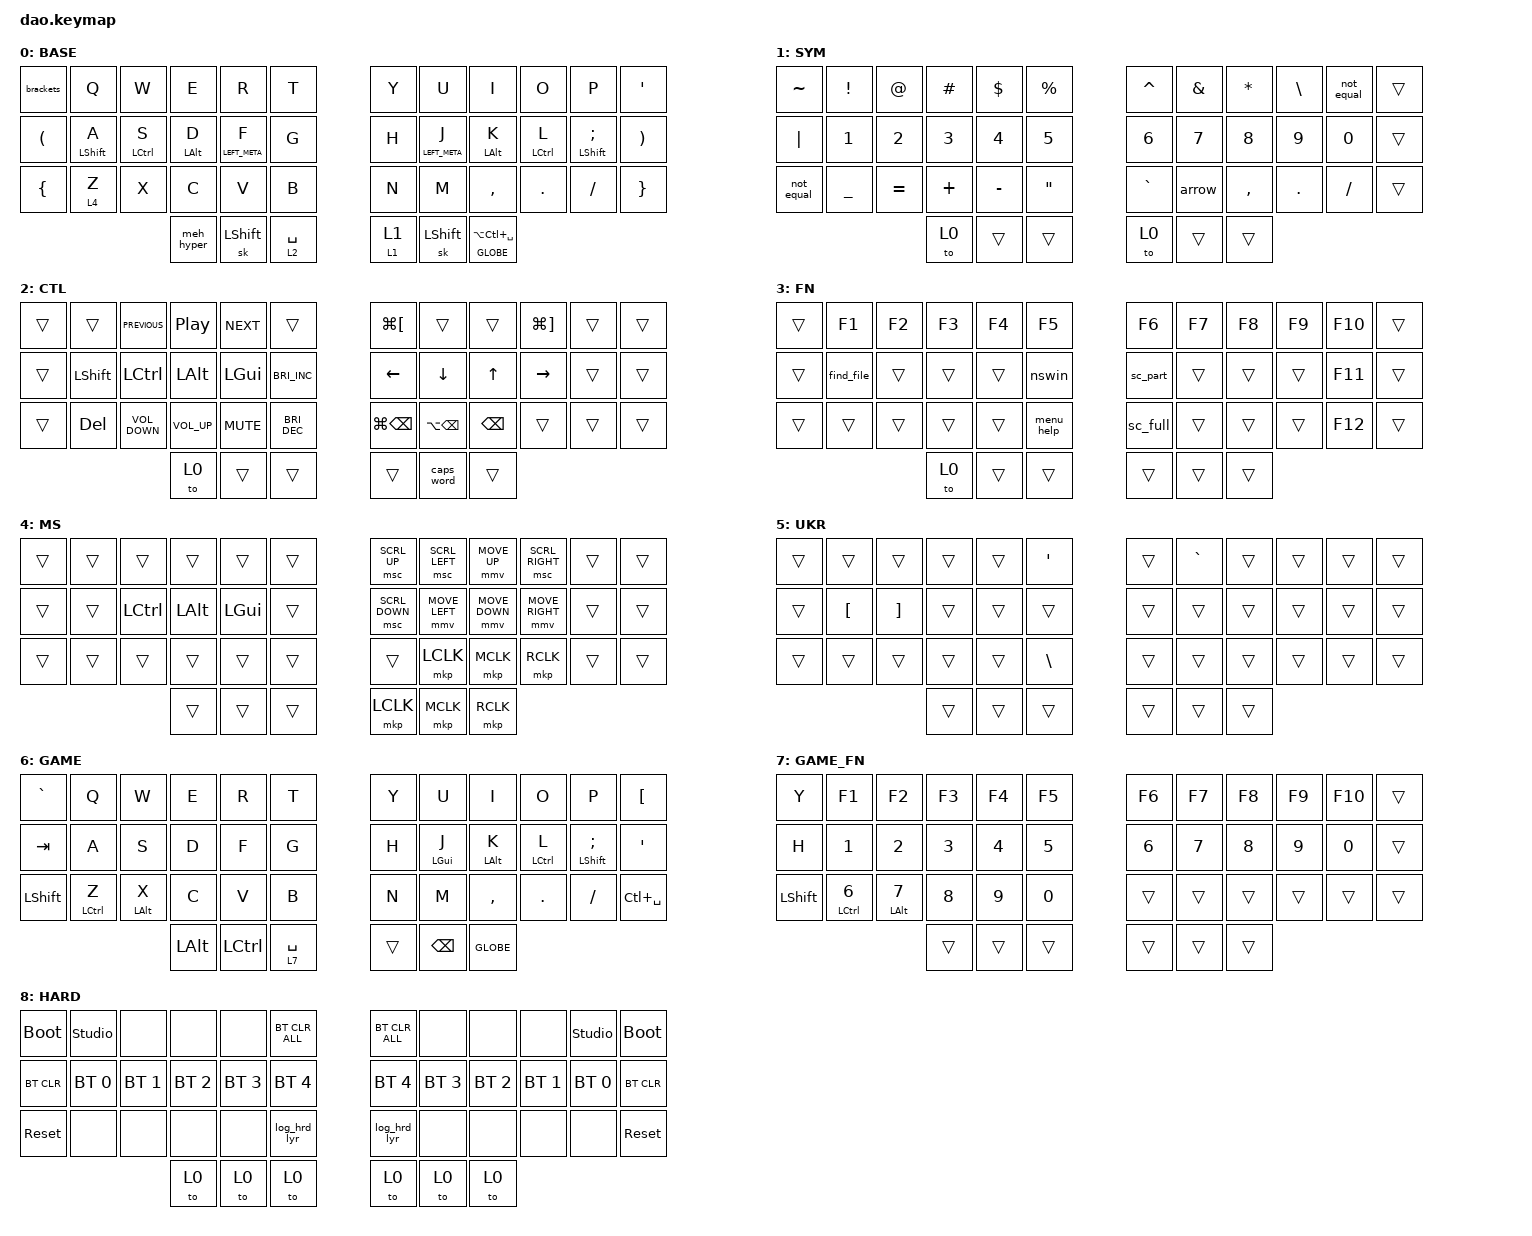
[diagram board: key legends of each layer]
/*
 * Copyright (c) 2021 Rafael Yumagulov
 *
 * SPDX-License-Identifier: MIT
 */

#define HOST_OS 2

// Increase mouse movement and scroll speeds

#define ZMK_POINTING_DEFAULT_MOVE_VAL 1800  // default: 600
#define ZMK_POINTING_DEFAULT_SCRL_VAL 25    // default: 10

#include "zmk-helpers/helper.h"
#include <dt-bindings/zmk/mouse.h>
#include <behaviors.dtsi>
#include <dt-bindings/zmk/bt.h>
#include <dt-bindings/zmk/keys.h>
#include <dt-bindings/zmk/pointing.h>

#define DEF 0
#define LWR 1
#define RSE 2
#define ADJ 3
#define MSE 4
#define HRD 5

&lt {
    quick_tap_ms = <200>;
    flavor = "balanced";
    tapping-term-ms = <150>;
};

&sk {
    release-after-ms = <400>;
    quick-release;
};

&caps_word { continue-list = <UNDERSCORE MINUS BACKSPACE DELETE>; };

&mmv {
    time-to-max-speed-ms = <600>;
    acceleration-exponent = <1>;
};

&msc {
    time-to-max-speed-ms = <600>;
    acceleration-exponent = <0>;
};

/ {
    chosen {
        zmk,physical_layout = &dao_crkbd_layout;

        // zmk,physical_layout = &dao_full_layout;
    };
};

/ {
    behaviors {
        hml: home_row_mod_left {
            compatible = "zmk,behavior-hold-tap";
            label = "HOME_ROW_MOD_LEFT";
            #binding-cells = <2>;
            flavor = "balanced";
            require-prior-idle-ms = <150>;
            tapping-term-ms = <200>;
            quick-tap-ms = <175>;
            bindings = <&kp>, <&kp>;

            hold-trigger-key-positions = <6 7 8 9 10 11 18 19 20 21 22 23 30 31 32 33 34 35 39 40 41>;
            hold-trigger-on-release;
        };

        hmr: home_row_mod_right {
            compatible = "zmk,behavior-hold-tap";
            label = "HOME_ROW_MOD_RIGHT";
            #binding-cells = <2>;
            flavor = "balanced";
            require-prior-idle-ms = <150>;
            tapping-term-ms = <200>;
            quick-tap-ms = <175>;
            bindings = <&kp>, <&kp>;

            hold-trigger-key-positions = <0 1 2 3 4 5 12 13 14 15 16 17 24 25 26 27 28 29 36 37 38>;
            hold-trigger-on-release;
        };

        sc_part: sc_part {
            compatible = "zmk,behavior-tap-dance";
            label = "SC_PART";
            #binding-cells = <0>;
            bindings = <&kp LS(LG(NUMBER_4))>, <&kp LS(LG(NUMBER_5))>;
        };

        sc_full: sc_full {
            compatible = "zmk,behavior-tap-dance";
            label = "SC_FULL";
            #binding-cells = <0>;
            bindings = <&kp LS(LG(NUMBER_1))>, <&kp LS(LA(LG(NUMBER_3)))>;
        };

        nswin: nswin {
            compatible = "zmk,behavior-tap-dance";
            label = "NEW_SAFARI_WIN";
            #binding-cells = <0>;
            bindings = <&kp LG(LA(LS(N0)))>, <&kp LG(LA(LS(NUMBER_1)))>;
        };

        meh_hyper: meh_hyper {
            compatible = "zmk,behavior-tap-dance";
            label = "MEH_HYPER";
            #binding-cells = <0>;
            bindings = <&kp LC(LA(LEFT_SHIFT))>, <&kp LC(LA(LG(LEFT_SHIFT)))>;
        };

        ltr: ltr {
            compatible = "zmk,behavior-hold-tap";
            label = "LTR";
            #binding-cells = <2>;
            flavor = "balanced";
            require-prior-idle-ms = <100>;
            tapping-term-ms = <200>;
            quick-tap-ms = <175>;
            bindings = <&mo>, <&kp>;

            hold-trigger-key-positions = <0 1 2 3 4 5 12 13 14 15 16 17 24 25 26 27 28 29 36 37 38>;
            hold-trigger-on-release;
        };

        lyr_debug: lyr_debug {
            compatible = "zmk,behavior-tap-dance";
            label = "LYR_DEBUG";
            #binding-cells = <0>;
            bindings =
                <&mo 1>,
                <&mo 0>,
                <&mo 2>,
                <&mo 3>,
                <&mo 7>,
                <&mo 7>,
                <&mo 7>,
                <&mo 8>;
        };

        ltl: ltl {
            compatible = "zmk,behavior-hold-tap";
            label = "LTL";
            #binding-cells = <2>;
            flavor = "balanced";
            require-prior-idle-ms = <100>;
            tapping-term-ms = <200>;
            quick-tap-ms = <175>;
            bindings = <&mo>, <&kp>;

            hold-trigger-key-positions = <6 7 8 9 10 11 18 19 20 21 22 23 30 31 32 33 34 35 39 40 41>;
            hold-trigger-on-release;
        };

        appsw: appsw {
            compatible = "zmk,behavior-hold-tap";
            label = "APPSW";
            bindings = <&kp>, <&kp>;

            #binding-cells = <2>;
            flavor = "hold-preferred";
            tapping-term-ms = <140>;
        };

        brackets: brackets {
            compatible = "zmk,behavior-mod-morph";
            label = "BRACKETS";
            bindings = <&kp LEFT_BRACKET>, <&kp RIGHT_BRACKET>;

            #binding-cells = <0>;
            mods = <(MOD_LSFT|MOD_LALT|MOD_LGUI|MOD_LCTL)>;
        };

        mo_or_to: mo_or_to {
            compatible = "zmk,behavior-hold-tap";
            label = "MO_OR_TO";
            bindings = <&mo>, <&to>;

            #binding-cells = <2>;
            tapping-term-ms = <150>;
        };
    };

    combos {
        compatible = "zmk,combos";

        hardware_left {
            bindings = <&to 8>;
            key-positions = <5 17 29 37>; // t g b keys
            layers = <0>;
        };

        hardware_right {
            bindings = <&to 8>;
            key-positions = <6 18 30 40>;
        };

        combo_esc {
            bindings = <&kp ESC>;
            key-positions = <14 15>; // sd
            timeout-ms = <40>;
            require-prior-idle-ms = <100>;
        };

        combo_return {
            bindings = <&kp RETURN>;
            key-positions = <20 21>;
            timeout-ms = <40>;
            require-prior-idle-ms = <100>;
        };

        combo_tab {
            bindings = <&kp TAB>;
            key-positions = <27 26>;
            timeout-ms = <40>;
            require-prior-idle-ms = <150>;
        };

        combo_input_src {
            bindings = <&kp LC(SPACE)>;
            key-positions = <21 19>;
            timeout-ms = <40>;
            require-prior-idle-ms = <150>;
            layers = <0 7>;
        };

        combo_1password {
            bindings = <&kp LG(LS(SPACE))>;
            key-positions = <14 16>;
            require-prior-idle-ms = <150>;
            timeout-ms = <40>;
        };

        go_gayming {
            bindings = <&to 7>;
            key-positions = <1 2 3 4>;
            layers = <0>;
        };

        quit_gayming {
            bindings = <&to 0>;
            key-positions = <7 8 9 10>;
            layers = <7>;
        };

        combo_grave {
            bindings = <&kp GRAVE>;
            key-positions = <27 28>;
            timeout-ms = <40>;
            require-prior-idle-ms = <150>;
            layers = <0>;
        };

        page_up {
            bindings = <&kp PAGE_UP>;
            key-positions = <9 7>;
            layers = <0 2 7>;
            timeout-ms = <40>;
            require-prior-idle-ms = <150>;
        };

        page_down {
            bindings = <&kp PAGE_DOWN>;
            key-positions = <33 31>;
            layers = <0 2 7>;
            timeout-ms = <50>;
            require-prior-idle-ms = <150>;
        };

        home {
            bindings = <&kp HOME>;
            key-positions = <9 7 8>;
            layers = <0 2 7>;
            timeout-ms = <40>;
            require-prior-idle-ms = <150>;
        };

        end {
            bindings = <&kp END>;
            key-positions = <33 31 32>;
            layers = <0 2 7>;
            timeout-ms = <40>;
            require-prior-idle-ms = <150>;
        };

        context_menu {
            bindings = <&kp LC(ENTER)>;
            key-positions = <26 28>;
            timeout-ms = <40>;
            require-prior-idle-ms = <150>;
        };
    };

    macros {
        log_hrd_lyr: log_hrd_lyr {
            compatible = "zmk,behavior-macro";
            #binding-cells = <0>;
            bindings = <&none &kp LS(H) &kp LS(A) &kp LS(R) &kp LS(D) &kp LS(W) &kp LS(A) &kp LS(R) &kp LS(E) &kp SPACE &kp LS(L) &kp LS(A) &kp LS(Y) &kp LS(E) &kp LS(R)>;
            label = "LOG_HRD_LYR";
        };

        menu_help: menu_help {
            compatible = "zmk,behavior-macro";
            #binding-cells = <0>;
            bindings =
                <&kp LC(F2)>,
                <&macro_wait_time 200>,
                <&kp H>,
                <&macro_wait_time 80>,
                <&kp E>,
                <&macro_wait_time 80>,
                <&kp L>,
                <&macro_wait_time 80>,
                <&kp P>,
                <&macro_wait_time 80>,
                <&kp RETURN>;

            label = "MENU_HELP";
        };

        not_equal: not_equal {
            compatible = "zmk,behavior-macro";
            #binding-cells = <0>;
            bindings = <&kp EXCLAMATION &kp EQUAL>;
            label = "NOT_EQUAL";
        };

        arrow: arrow {
            compatible = "zmk,behavior-macro";
            #binding-cells = <0>;
            bindings = <&kp MINUS &kp GREATER_THAN>;
            label = "ARROW";
        };

        find_file: find_file {
            compatible = "zmk,behavior-macro";
            #binding-cells = <0>;
            bindings = <&kp LA(F1)>, <&macro_wait_time 80>, <&kp NUMBER_1>;

            label = "FIND_FILE";
        };
    };

    keymap {
        compatible = "zmk,keymap";

        base {
            display-name = "BASE";
            bindings = <
&brackets             &kp Q              &kp W                &kp E            &kp R             &kp T        &kp Y          &kp U             &kp I                    &kp O                &kp P                 &kp SQT
&kp LEFT_PARENTHESIS  &hml LEFT_SHIFT A  &hml LEFT_CONTROL S  &hml LEFT_ALT D  &hml LEFT_META F  &kp G        &kp H          &hmr LEFT_META J  &hmr LEFT_ALT K          &hmr LEFT_CONTROL L  &hmr LEFT_SHIFT SEMI  &kp RIGHT_PARENTHESIS
&kp LEFT_BRACE        &lt 4 Z            &kp X                &kp C            &kp V             &kp B        &kp N          &kp M             &kp COMMA                &kp DOT              &kp FSLH              &kp RIGHT_BRACE
                                                              &meh_hyper       &sk LEFT_SHIFT    &lt 2 SPACE  &mo_or_to 1 1  &sk LEFT_SHIFT    &mt GLOBE LA(LC(SPACE))
            >;
        };

        symbols {
            display-name = "SYM";
            bindings = <
&kp TILDE   &kp EXCLAMATION  &kp AT_SIGN  &kp POUND  &kp DOLLAR  &kp PERCENT        &kp CARET  &kp AMPS  &kp ASTERISK  &kp BACKSLASH  &not_equal  &trans
&kp PIPE    &kp N1           &kp N2       &kp N3     &kp N4      &kp N5             &kp N6     &kp N7    &kp N8        &kp N9         &kp N0      &trans
&not_equal  &kp UNDERSCORE   &kp EQUAL    &kp PLUS   &kp MINUS   &kp DOUBLE_QUOTES  &kp GRAVE  &arrow    &kp COMMA     &kp PERIOD     &kp SLASH   &trans
                                          &to 0      &trans      &trans             &to 0      &trans    &trans
            >;
        };

        controls {
            display-name = "CTL";
            bindings = <
&trans  &trans      &kp C_PREVIOUS     &kp C_PP         &kp C_NEXT  &trans                &kp LG(LEFT_BRACKET)  &trans             &trans         &kp LG(RIGHT_BRACKET)  &trans  &trans
&trans  &kp LSHFT   &kp LCTRL          &kp LALT         &kp LGUI    &kp C_BRIGHTNESS_INC  &kp LEFT              &kp DOWN           &kp UP_ARROW   &kp RIGHT              &trans  &trans
&trans  &kp DELETE  &kp C_VOLUME_DOWN  &kp C_VOLUME_UP  &kp K_MUTE  &kp C_BRIGHTNESS_DEC  &kp LG(BACKSPACE)     &kp LA(BACKSPACE)  &kp BACKSPACE  &trans                 &trans  &trans
                                       &to 0            &trans      &trans                &trans                &caps_word         &trans
            >;
        };

        function {
            bindings = <
&trans  &kp F1      &kp F2  &kp F3  &kp F4  &kp F5      &kp F6    &kp F7  &kp F8  &kp F9  &kp F10  &trans
&trans  &find_file  &trans  &trans  &trans  &nswin      &sc_part  &trans  &trans  &trans  &kp F11  &trans
&trans  &trans      &trans  &trans  &trans  &menu_help  &sc_full  &trans  &trans  &trans  &kp F12  &trans
                            &to 0   &trans  &trans      &trans    &trans  &trans
            >;

            label = "FN";
        };

        mouse {
            display-name = "MS";
            bindings = <
&trans  &trans  &trans     &trans    &trans    &trans  &msc SCRL_UP    &msc SCRL_LEFT  &mmv MOVE_UP    &msc SCRL_RIGHT  &trans  &trans
&trans  &trans  &kp LCTRL  &kp LALT  &kp LGUI  &trans  &msc SCRL_DOWN  &mmv MOVE_LEFT  &mmv MOVE_DOWN  &mmv MOVE_RIGHT  &trans  &trans
&trans  &trans  &trans     &trans    &trans    &trans  &trans          &mkp LCLK       &mkp MCLK       &mkp RCLK        &trans  &trans
                           &trans    &trans    &trans  &mkp LCLK       &mkp MCLK       &mkp RCLK
            >;
        };

        ukr_extra {
            bindings = <
&trans  &trans            &trans             &trans  &trans  &kp SINGLE_QUOTE  &trans  &kp GRAVE  &trans  &trans  &trans  &trans
&trans  &kp LEFT_BRACKET  &kp RIGHT_BRACKET  &trans  &trans  &trans            &trans  &trans     &trans  &trans  &trans  &trans
&trans  &trans            &trans             &trans  &trans  &kp BACKSLASH     &trans  &trans     &trans  &trans  &trans  &trans
                                             &trans  &trans  &trans            &trans  &trans     &trans
            >;

            label = "UKR";
        };

        game {
            display-name = "GAME";
            bindings = <
&kp GRAVE       &kp Q                &kp W            &kp E         &kp R             &kp T        &kp Y   &kp U            &kp I        &kp O                &kp P                 &kp LBKT
&kp TAB         &kp A                &kp S            &kp D         &kp F             &kp G        &kp H   &hmr LEFT_GUI J  &hmr LALT K  &hmr LEFT_CONTROL L  &hmr LEFT_SHIFT SEMI  &kp SQT
&kp LEFT_SHIFT  &hml LEFT_CONTROL Z  &hml LEFT_ALT X  &kp C         &kp V             &kp B        &kp N   &kp M            &kp COMMA    &kp DOT              &kp FSLH              &kp LC(SPACE)
                                                      &kp LEFT_ALT  &kp LEFT_CONTROL  &lt 7 SPACE  &trans  &kp BACKSPACE    &kp GLOBE
            >;
        };

        game_fn {
            display-name = "GAME_FN";
            bindings = <
&kp Y           &kp F1                      &kp F2            &kp F3  &kp F4  &kp F5  &kp F6  &kp F7  &kp F8  &kp F9  &kp F10  &trans
&kp H           &kp N1                      &kp N2            &kp N3  &kp N4  &kp N5  &kp N6  &kp N7  &kp N8  &kp N9  &kp N0   &trans
&kp LEFT_SHIFT  &hml LEFT_CONTROL NUMBER_6  &hml LEFT_ALT N7  &kp N8  &kp N9  &kp N0  &trans  &trans  &trans  &trans  &trans   &trans
                                                              &trans  &trans  &trans  &trans  &trans  &trans
            >;
        };

        hardware {
            display-name = "HARD";
            bindings = <
&bootloader  &studio_unlock  &none         &none         &none         &bt BT_CLR_ALL  &bt BT_CLR_ALL  &none         &none         &none         &studio_unlock  &bootloader
&bt BT_CLR   &bt BT_SEL 0    &bt BT_SEL 1  &bt BT_SEL 2  &bt BT_SEL 3  &bt BT_SEL 4    &bt BT_SEL 4    &bt BT_SEL 3  &bt BT_SEL 2  &bt BT_SEL 1  &bt BT_SEL 0    &bt BT_CLR
&sys_reset   &none           &none         &none         &none         &log_hrd_lyr    &log_hrd_lyr    &none         &none         &none         &none           &sys_reset
                                           &to 0         &to 0         &to 0           &to 0           &to 0         &to 0
            >;
        };
    };

    conditional_layers {
        compatible = "zmk,conditional-layers";

        function_layer {
            if-layers = <1 2>;
            then-layer = <3>;
        };
    };
};

/*
 *    0   1   2   3   4   5     6   7   8   9  10  11
 *   12  13  14  15  16  17    18  19  20  21  22  23
 *   24  25  26  27  28  29    30  31  32  33  34  35
 *               36  37  38    39  40  41
 */
